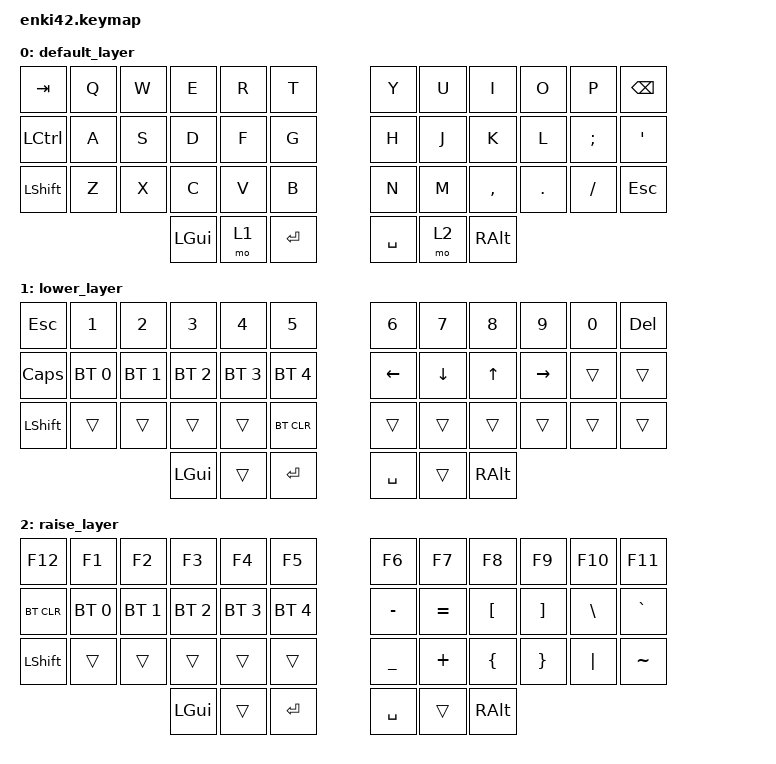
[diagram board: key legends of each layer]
/*
 * Copyright (c) 2020 The ZMK Contributors
 *
 * SPDX-License-Identifier: MIT
 */

#include <behaviors.dtsi>
#include <dt-bindings/zmk/keys.h>
#include <dt-bindings/zmk/bt.h>

#include <dt-bindings/zmk/ext_power.h>

#define DEF 0
#define LWR 1
#define RSE 2
#define ADJ 3

&lt { quick_tap_ms = <220>; };
&mt { quick_tap_ms = <220>; };

/ {
    macros {
        numdot: numdot {
            label = "ZM_numdot";
            compatible = "zmk,behavior-macro";
            #binding-cells = <0>;
            wait-ms = <40>;
            tap-ms = <40>;
            bindings
                = <&macro_press   &kp LALT>    
                , <&macro_tap     &kp KP_N4 &kp KP_N6>    
                , <&macro_release &kp LALT>
                ;
        };
        grtsgn: grtsgn {
            label = "ZM_grtsgn";
            compatible = "zmk,behavior-macro";
            #binding-cells = <0>;
            wait-ms = <40>;
            tap-ms = <40>;
            bindings
                = <&macro_press   &kp LALT>    
                , <&macro_tap     &kp KP_N6 &kp KP_N2>    
                , <&macro_release &kp LALT>
                ;
        };
    };
};
/ {
        keymap {
                compatible = "zmk,keymap";

                default_layer {
// -----------------------------------------------------------------------------------------
// |  TAB |  Q  |  W  |  E  |  R  |  T  |   |  Y  |  U   |  I  |  O  |  P  | BKSP |
// | CTRL |  A  |  S  |  D  |  F  |  G  |   |  H  |  J   |  K  |  L  |  ;  |  '   |
// | SHFT |  Z  |  X  |  C  |  V  |  B  |   |  N  |  M   |  ,  |  .  |  /  | ESC  |
//                    | GUI | LWR | ENT |   | SPC | RSE  | ALT |
                        bindings = <
   &kp TAB   &kp Q &kp W &kp E &kp R &kp T   &kp Y &kp U  &kp I     &kp O   &kp P    &kp BSPC
   &kp LCTRL &kp A &kp S &kp D &kp F &kp G   &kp H &kp J  &kp K     &kp L   &kp SEMI &kp SQT
   &kp LSHFT &kp Z &kp X &kp C &kp V &kp B   &kp N &kp M  &kp COMMA &kp DOT &kp FSLH &kp ESC
                  &kp LGUI &mo 1 &kp RET   &kp SPACE &mo 2 &kp RALT
                        >;
                };
                lower_layer {
// -----------------------------------------------------------------------------------------
// |  ESC |  1  |  2  |  3  |  4  |  5  |   |  6  |  7  |  8  |  9  |  0  | DEL |
// | CAPS | BT1 | BT2 | BT3 | BT4 | BT5 |   | LFT | DWN |  UP | RGT |     |      |
// | SHFT |     |     |     |     |BTCLR|   |     |     |     |     |     |      |
//                    | GUI |     | ENT |   | SPC |     | ALT |
                        bindings = <
   &kp ESC    &kp N1       &kp N2       &kp N3       &kp N4       &kp N5         &kp N6   &kp N7   &kp N8 &kp N9    &kp N0 &kp DEL
    &kp CAPS &bt BT_SEL 0 &bt BT_SEL 1 &bt BT_SEL 2 &bt BT_SEL 3 &bt BT_SEL 4   &kp LEFT &kp DOWN &kp UP &kp RIGHT &trans &trans
   &kp LSHFT  &trans       &trans       &trans       &trans       &bt BT_CLR         &trans   &trans   &trans &trans    &trans &trans
                          	        &kp LGUI     &trans       &kp RET      &kp SPACE  &trans   &kp RALT
                        >;
                };

                raise_layer {
// -----------------------------------------------------------------------------------------
// |  F12 |  F1 |  F2 |  F3 |  F4 |  F5 |   |  F6 |  F7 |  F8 |  F9 | F10 | F11  |
// | BTCLR| BT1 | BT2 | BT3 | BT4 | BT5 |   |  -  |  =  |  [  |  ]  |  \  |  `   |
// | SHFT |     |     |     |     |     |   |  _  |  +  |  {  |  }  | "|" |  ~   |
//                    | GUI |     | ENT |   | SPC |     | ALT |
                        bindings = <
   &kp F12  &kp F1 &kp F2 &kp F3 &kp F4 &kp F5   &kp F6 &kp F7  &kp F8 &kp F9 &kp F10 &kp F11
  &bt BT_CLR &bt BT_SEL 0 &bt BT_SEL 1 &bt BT_SEL 2 &bt BT_SEL 3 &bt BT_SEL 4      &kp MINUS &kp EQUAL &kp LBKT        &kp RBKT &kp BSLH &kp GRAVE
   &kp LSHFT &trans   &trans &trans   &trans   &trans      &kp UNDER &kp PLUS  &kp LBRC        &kp RBRC &kp PIPE &kp TILDE
                    	     &kp LGUI &trans   &kp RET   &kp SPACE   &trans    &kp RALT
                        >;
                };
        };
};
